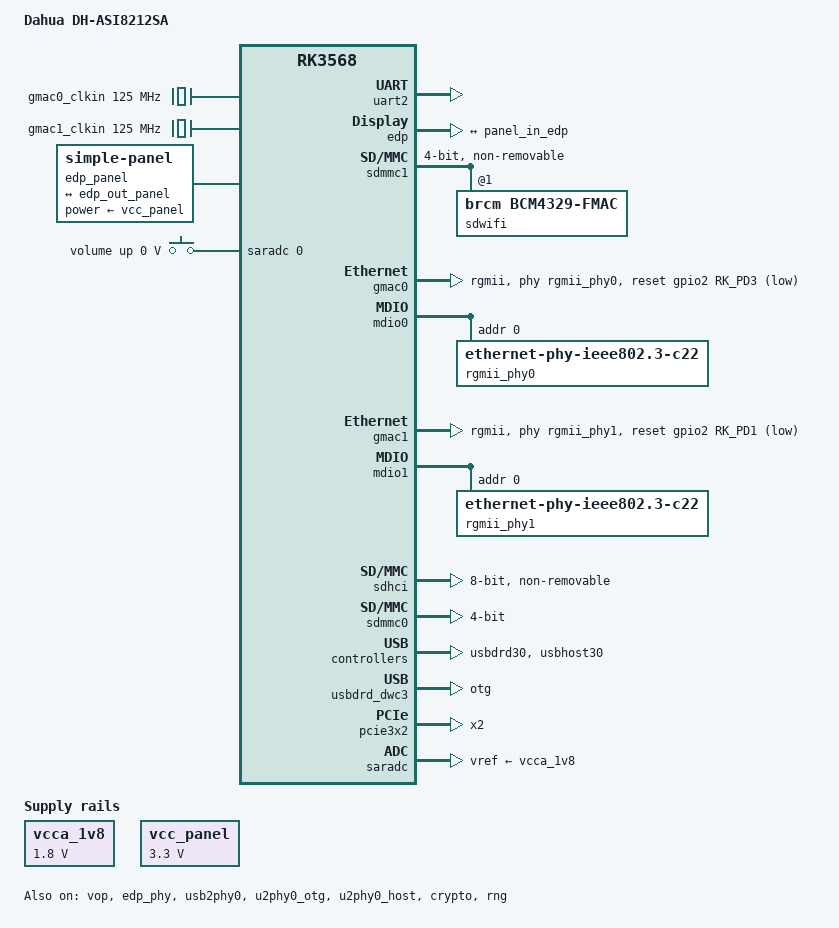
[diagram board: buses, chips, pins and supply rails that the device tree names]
// SPDX-License-Identifier: (GPL-2.0+ OR MIT)
/*
 * Dahua DH-ASI8212SA (RK3568 door-station board) — kernel DT
 *
 * Board data extracted from the factory U-Boot DTB (uboot.bin @0x1c7e00,
 * decompiled to dh/flash_kit/uboot_config.dts) and the factory dtbo
 * fragment (reboot-mode magics). SoC-level blocks — CRU@fdd20000 /
 * PMUCRU@fdd00000, GRF/PMUGRF/USB2PHY-GRF syscons, IOMMUs, power domains,
 * CPU/GPU/NPU/DMC OPP tables, efuse — come from rk3568.dtsi/rk356x.dtsi of
 * the vendor 6.1 kernel and are inherited, not duplicated.
 *
 * Known limitations (factory kernel DTB was never recovered):
 *   - PMIC is on a private I2C bus in the factory firmware; no PMIC node
 *     here. Rails run at reset defaults, so cpufreq stays at the boot
 *     frequency (no vdd_cpu regulator) until the PMIC bus is probed.
 *   - GMAC PHY wiring taken from the factory U-Boot DTB (both MACs, phy@0
 *     on their MDIO buses, RGMII, factory tx/rx delays).
 */

/dts-v1/;

#include <dt-bindings/gpio/gpio.h>
#include <dt-bindings/input/input.h>
#include "rk3568.dtsi"

/ {
	model = "Dahua DH-ASI8212SA";
	compatible = "dahua,dh-asi8212sa", "rockchip,rk3568";

	aliases {
		ethernet0 = &gmac0;
		ethernet1 = &gmac1;
		/* TF(SD) = mmc0 (matches U-Boot numbering); root= uses PARTUUID
		 * so SD-first and eMMC installs both work */
		mmc0 = &sdmmc0;
		mmc1 = &sdhci;
		serial2 = &uart2;
	};

	chosen {
		stdout-path = "serial2:1500000n8";
	};

	/* Factory DTB: external 125MHz clocks for both GMACs */
	gmac0_clkin: external-gmac0-clock {
		compatible = "fixed-clock";
		clock-frequency = <125000000>;
		clock-output-names = "gmac0_clkin";
		#clock-cells = <0>;
	};

	gmac1_clkin: external-gmac1-clock {
		compatible = "fixed-clock";
		clock-frequency = <125000000>;
		clock-output-names = "gmac1_clkin";
		#clock-cells = <0>;
	};

	/* 1.8V rail for SARADC (from factory DTB) */
	vcca_1v8: regulator-vcca-1v8 {
		compatible = "regulator-fixed";
		regulator-name = "vcca_1v8";
		regulator-always-on;
		regulator-boot-on;
		regulator-min-microvolt = <1800000>;
		regulator-max-microvolt = <1800000>;
	};

	/* eDP panel rail — factory rails unknown; assume 3.3V always-on */
	vcc_panel: regulator-vcc-panel {
		compatible = "regulator-fixed";
		regulator-name = "vcc_panel";
		regulator-always-on;
		regulator-boot-on;
		regulator-min-microvolt = <3300000>;
		regulator-max-microvolt = <3300000>;
	};

	/*
	 * Dahua reboot-mode magics — verbatim from the factory dtbo fragment
	 * (mode-normal=0x5242c300 ... mode-charge=0x5242c30b).
	 */
	reboot-mode {
		compatible = "rockchip,reboot-mode";
		mode-normal = <0x5242c300>;
		mode-recovery = <0x5242c301>;
		mode-bootloader = <0x5242c302>;
		mode-loader = <0x5242c303>;
		mode-charge = <0x5242c30b>;
	};

	/*
	 * Factory Android apps query DRM connectors "card0-DP-1" (eDP panel)
	 * and "card0-HDMI-A-1"; factory U-Boot selects rk3568-{qbt,kqj,
	 * kqj-15inch}-edp.dtb from an ADC LCD-ID. Panel is eDP on vp0.
	 * Factory kernel DTB (panel timing) was never recovered — generic
	 * 1920x1080@60 eDP timing as the first attempt.
	 */
	edp_panel: edp-panel {
		compatible = "simple-panel";
		power-supply = <&vcc_panel>;
		panel-timing {
			clock-frequency = <141400000>;
			hactive = <1920>;
			vactive = <1080>;
			hfront-porch = <48>;
			hback-porch = <80>;
			hsync-len = <32>;
			vfront-porch = <3>;
			vback-porch = <23>;
			vsync-len = <5>;
			hsync-active = <0>;
			vsync-active = <0>;
			de-active = <1>;
			pixelclk-active = <0>;
		};
		port {
			panel_in_edp: endpoint {
				remote-endpoint = <&edp_out_panel>;
			};
		};
	};

	/* Recovery/MASKROM key on SARADC ch0 (factory: press < 9uV) */
	adc-keys {
		compatible = "adc-keys";
		io-channels = <&saradc 0>;
		io-channel-names = "buttons";
		keyup-threshold-microvolt = <1800000>;
		poll-interval = <100>;
		status = "okay";

		volumeup-key {
			label = "volume up";
			linux,code = <KEY_VOLUMEUP>;
			press-threshold-microvolt = <9>;
		};
	};

	/* ===== WiFi: AP6236 (BCM43438A0) on SDIO sdmmc1 ===== */
	wireless_wlan: wireless-wlan {
		compatible = "wlan-platdata";
		rockchip,grf = <&grf>;
		wifi_chip_type = "ap6236";
		sdio_vref = <1800>;
		status = "okay";
	};
};

/* Debug console, 1.5MBaud */
&uart2 {
	status = "okay";
};

/* ===== Display pipeline: VOP2 (vp0) -> eDP @fe0c0000 -> panel ===== */
&vop {
	status = "okay";
};

&vop_mmu {
	status = "okay";
};

&edp_phy {
	status = "okay";
};

&edp {
	status = "okay";
	ports {
		port@0 {
			edp_in_vp0: endpoint@0 {
				status = "okay";
			};
		};
		port@1 {
			reg = <1>;
			#address-cells = <1>;
			#size-cells = <0>;
			edp_out_panel: endpoint {
				remote-endpoint = <&panel_in_edp>;
			};
		};
	};
};

&display_subsystem {
	route {
		route_edp {
			status = "okay";
			logo,mode = "center";
			charge_logo,mode = "center";
			connect = <&vp0_out_edp>;
		};
	};
};

/* ===== WiFi: AP6236 (BCM43438A0) on SDIO sdmmc1 ===== */
&sdmmc1 {
	#address-cells = <1>;
	#size-cells = <0>;
	bus-width = <4>;
	cap-sdio-irq;
	keep-power-in-suspend;
	non-removable;
	pinctrl-names = "default";
	pinctrl-0 = <&sdmmc1_clk &sdmmc1_cmd &sdmmc1_bus4>;
	status = "okay";

	sdwifi: wifi@1 {
		compatible = "brcm,bcm4329-fmac";
		reg = <1>;
	};
};

/*
 * GMAC0 — factory values: RGMII, clock_in_out=output, tx_delay=0x3c,
 * rx_delay=0x2f, PHY reset GPIO2_D3 active-low, PHY@0 on mdio0.
 */
&gmac0 {
	phy-mode = "rgmii";
	clock_in_out = "output";
	assigned-clocks = <&cru SCLK_GMAC0_RX_TX>, <&cru SCLK_GMAC0>;
	assigned-clock-parents = <&cru SCLK_GMAC0_RGMII_SPEED>, <&gmac0_clkin>;
	snps,reset-gpio = <&gpio2 RK_PD3 GPIO_ACTIVE_LOW>;
	snps,reset-active-low;
	snps,reset-delays-us = <0 20000 100000>;
	tx_delay = <0x3c>;
	rx_delay = <0x2f>;
	phy-handle = <&rgmii_phy0>;
	status = "okay";
};

&mdio0 {
	rgmii_phy0: ethernet-phy@0 {
		compatible = "ethernet-phy-ieee802.3-c22";
		reg = <0>;
	};
};

/*
 * GMAC1 (M1 pins) — factory values: RGMII, clock_in_out=output,
 * tx_delay=0x4f, rx_delay=0x26, PHY reset GPIO2_D1 active-low, PHY@0 on mdio1.
 */
&gmac1 {
	phy-mode = "rgmii";
	clock_in_out = "output";
	assigned-clocks = <&cru SCLK_GMAC1_RX_TX>, <&cru SCLK_GMAC1>;
	assigned-clock-parents = <&cru SCLK_GMAC1_RGMII_SPEED>, <&gmac1_clkin>;
	pinctrl-0 = <&gmac1m1_miim
		     &gmac1m1_tx_bus2
		     &gmac1m1_rx_bus2
		     &gmac1m1_rgmii_clk
		     &gmac1m1_clkinout
		     &gmac1m1_rgmii_bus>;
	snps,reset-gpio = <&gpio2 RK_PD1 GPIO_ACTIVE_LOW>;
	snps,reset-active-low;
	snps,reset-delays-us = <0 20000 100000>;
	tx_delay = <0x4f>;
	rx_delay = <0x26>;
	phy-handle = <&rgmii_phy1>;
	status = "okay";
};

&mdio1 {
	rgmii_phy1: ethernet-phy@0 {
		compatible = "ethernet-phy-ieee802.3-c22";
		reg = <0>;
	};
};

/* eMMC — HS200 8-bit, 200MHz max (factory values) */
&sdhci {
	bus-width = <8>;
	max-frequency = <200000000>;
	non-removable;
	mmc-hs200-1_8v;
	status = "okay";
};

/* SD card — 150MHz max, card-detect GPIO0_A4 (factory values) */
&sdmmc0 {
	max-frequency = <150000000>;
	bus-width = <4>;
	cap-mmc-highspeed;
	cap-sd-highspeed;
	disable-wp;
	status = "okay";
};

/* TF slot — factory DTB has it enabled (now used for SDIO WiFi) */
&sdmmc1 {
	max-frequency = <150000000>;
	status = "okay";
};

/* USB: OTG (fcc00000) + host (fd000000), single USB2 PHY (factory: both ok) */
&usbdrd30 {
	status = "okay";
};

&usbdrd_dwc3 {
	dr_mode = "otg";
	status = "okay";
};

&usbhost30 {
	status = "okay";
};

&usb2phy0 {
	status = "okay";
};

&u2phy0_otg {
	status = "okay";
};

&u2phy0_host {
	status = "okay";
};

/* PCIe3x2 — factory DTB: enabled, 2 lanes */
&pcie3x2 {
	num-lanes = <2>;
	status = "okay";
};

/* Hardware crypto / RNG — factory DTB: enabled */
&crypto {
	status = "okay";
};

&rng {
	status = "okay";
};

/* SARADC vref */
&saradc {
	vref-supply = <&vcca_1v8>;
	status = "okay";
};

/* OTP-fuse helper block — verbatim from the factory DTB */
secure_otp@fe3a0000 {
	compatible = "rockchip,rk3568-secure-otp";
	reg = <0x0 0xfe3a0000 0x0 0x4000>;
	secure_conf = <0xfdd18008>;
	mask_addr = <0xfe880000>;
	cru_rst_addr = <0xfdd20470>;
	status = "okay";
};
